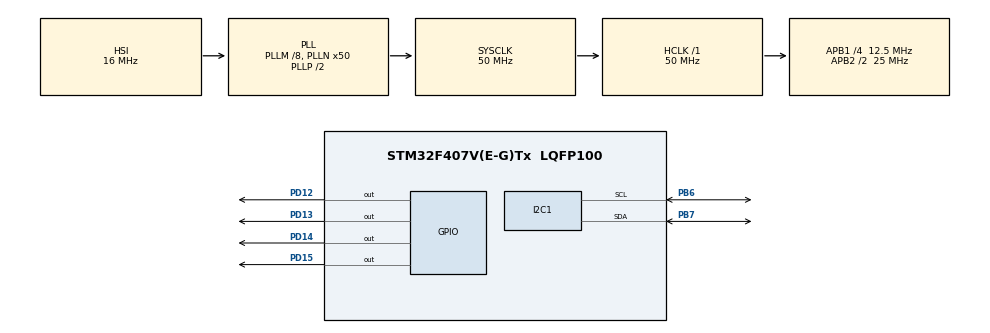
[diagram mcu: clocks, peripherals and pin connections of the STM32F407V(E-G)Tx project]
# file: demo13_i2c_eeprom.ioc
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Mcu.Family=STM32F4
RCC.CortexFreq_Value=50000000
RCC.APB1CLKDivider=RCC_HCLK_DIV4
RCC.SYSCLKSource=RCC_SYSCLKSOURCE_PLLCLK
ProjectManager.StackSize=0x400
PD13.Signal=GPIO_Output
ProjectManager.TargetToolchain=STM32CubeIDE
RCC.HCLKFreq_Value=50000000
RCC.APB2TimFreq_Value=50000000
PB6.Signal=I2C1_SCL
PB6.Mode=I2C
RCC.AHBFreq_Value=50000000
RCC.HSE_VALUE=8000000
board=STM32F407G-DISC1
RCC.VCOOutputFreq_Value=100000000
RCC.APB2Freq_Value=25000000
PD13.GPIO_PuPd=GPIO_NOPULL
PB7.Signal=I2C1_SDA
PD14.GPIO_PuPd=GPIO_NOPULL
Mcu.Name=STM32F407V(E-G)Tx
PD14.Signal=GPIO_Output
RCC.48MHZClocksFreq_Value=14285714.285714285
RCC.SYSCLKFreq_VALUE=50000000
Mcu.Package=LQFP100
PD12.Signal=GPIO_Output
PD15.GPIO_PuPd=GPIO_NOPULL
PB7.Mode=I2C
ProjectManager.HeapSize=0x200
RCC.HSI_VALUE=16000000
RCC.PLLQ=7
NVIC.PriorityGroup=NVIC_PRIORITYGROUP_0
RCC.APB2CLKDivider=RCC_HCLK_DIV2
RCC.PLLM=8
RCC.PLLN=50
RCC.APB1TimFreq_Value=25000000
RCC.APB1Freq_Value=12500000
PD15.Signal=GPIO_Output
PD12.GPIO_PuPd=GPIO_NOPULL

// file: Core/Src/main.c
/* USER CODE BEGIN Header */
/**
 ******************************************************************************
 * @file           : main.c
 * @brief          : Main program body
 ******************************************************************************
 * @attention
 *
 * <h2><center>&copy; Copyright (c) 2022 STMicroelectronics.
 * All rights reserved.</center></h2>
 *
 * This software component is licensed by ST under Ultimate Liberty license
 * SLA0044, the "License"; You may not use this file except in compliance with
 * the License. You may obtain a copy of the License at:
 *                             www.st.com/SLA0044
 *
 ******************************************************************************
 */
/* USER CODE END Header */
#include "main.h"

/* USER CODE BEGIN Includes */
#include<stdio.h>
#include<string.h>

/* USER CODE END Includes */

/* USER CODE BEGIN PM */
#define EEPROM_W 0xA0
#define EEPROM_R 0xA1
/* USER CODE END PM */

I2C_HandleTypeDef hi2c1;

void SystemClock_Config(void);
static void MX_GPIO_Init(void);
static void MX_I2C1_Init(void);

int main(void)
{

	/* MCU Configuration--------------------------------------------------------*/

	/* Reset of all peripherals, Initializes the Flash interface and the Systick. */
	HAL_Init();

	/* Configure the system clock */
	SystemClock_Config();

	/* Initialize all configured peripherals */
	MX_GPIO_Init();
	MX_I2C1_Init();

	/* Infinite loop */
	/* USER CODE BEGIN WHILE */
	if(HAL_I2C_IsDeviceReady(&hi2c1, 0xA0, 2, HAL_MAX_DELAY) == HAL_OK) {
		// EEPROM is connected
		HAL_GPIO_WritePin(GPIOD, GPIO_PIN_13, GPIO_PIN_SET);
	} else {
		// EEPROM is NOT connected
		HAL_GPIO_WritePin(GPIOD, GPIO_PIN_14, GPIO_PIN_SET);
		return 0;
	}

	char str[32] = "GOD BLESS YOU!";
	if(HAL_I2C_Mem_Write(&hi2c1, 0xA0, 0x0000, 2, (uint8_t*)str, strlen(str), HAL_MAX_DELAY) == HAL_OK) {
		// EEPROM write is successful
		HAL_GPIO_WritePin(GPIOD, GPIO_PIN_15, GPIO_PIN_SET);
	} else {
		// EEPROM write is failed
		HAL_GPIO_WritePin(GPIOD, GPIO_PIN_14, GPIO_PIN_SET);
		return 0;
	}

	char msg[32] = "";
	if(HAL_I2C_Mem_Read(&hi2c1, 0xA0, 0x0000, 2, (uint8_t*)msg, sizeof(str), HAL_MAX_DELAY)  == HAL_OK) {
		// EEPROM read is successful
		HAL_GPIO_WritePin(GPIOD, GPIO_PIN_12, GPIO_PIN_SET);
	} else {
		// EEPROM read is failed
		HAL_GPIO_WritePin(GPIOD, GPIO_PIN_14, GPIO_PIN_SET);
		return 0;
	}
	while (1)
	{
		/* USER CODE END WHILE */

	}
}

void SystemClock_Config(void)
{
	RCC_OscInitTypeDef RCC_OscInitStruct = {0};
	RCC_ClkInitTypeDef RCC_ClkInitStruct = {0};

	/** Configure the main internal regulator output voltage
	 */
	__HAL_RCC_PWR_CLK_ENABLE();
	__HAL_PWR_VOLTAGESCALING_CONFIG(PWR_REGULATOR_VOLTAGE_SCALE1);
	/** Initializes the RCC Oscillators according to the specified parameters
	 * in the RCC_OscInitTypeDef structure.
	 */
	RCC_OscInitStruct.OscillatorType = RCC_OSCILLATORTYPE_HSI;
	RCC_OscInitStruct.HSIState = RCC_HSI_ON;
	RCC_OscInitStruct.HSICalibrationValue = RCC_HSICALIBRATION_DEFAULT;
	RCC_OscInitStruct.PLL.PLLState = RCC_PLL_ON;
	RCC_OscInitStruct.PLL.PLLSource = RCC_PLLSOURCE_HSI;
	RCC_OscInitStruct.PLL.PLLM = 8;
	RCC_OscInitStruct.PLL.PLLN = 50;
	RCC_OscInitStruct.PLL.PLLP = RCC_PLLP_DIV2;
	RCC_OscInitStruct.PLL.PLLQ = 7;
	if (HAL_RCC_OscConfig(&RCC_OscInitStruct) != HAL_OK)
	{
		Error_Handler();
	}
	/** Initializes the CPU, AHB and APB buses clocks
	 */
	RCC_ClkInitStruct.ClockType = RCC_CLOCKTYPE_HCLK|RCC_CLOCKTYPE_SYSCLK
			|RCC_CLOCKTYPE_PCLK1|RCC_CLOCKTYPE_PCLK2;
	RCC_ClkInitStruct.SYSCLKSource = RCC_SYSCLKSOURCE_PLLCLK;
	RCC_ClkInitStruct.AHBCLKDivider = RCC_SYSCLK_DIV1;
	RCC_ClkInitStruct.APB1CLKDivider = RCC_HCLK_DIV4;
	RCC_ClkInitStruct.APB2CLKDivider = RCC_HCLK_DIV2;

	if (HAL_RCC_ClockConfig(&RCC_ClkInitStruct, FLASH_LATENCY_1) != HAL_OK)
	{
		Error_Handler();
	}
}

static void MX_I2C1_Init(void)
{

	hi2c1.Instance = I2C1;
	hi2c1.Init.ClockSpeed = 100000;
	hi2c1.Init.DutyCycle = I2C_DUTYCYCLE_2;
	hi2c1.Init.OwnAddress1 = 0;
	hi2c1.Init.AddressingMode = I2C_ADDRESSINGMODE_7BIT;
	hi2c1.Init.DualAddressMode = I2C_DUALADDRESS_DISABLE;
	hi2c1.Init.OwnAddress2 = 0;
	hi2c1.Init.GeneralCallMode = I2C_GENERALCALL_DISABLE;
	hi2c1.Init.NoStretchMode = I2C_NOSTRETCH_DISABLE;
	if (HAL_I2C_Init(&hi2c1) != HAL_OK)
	{
		Error_Handler();
	}

}

static void MX_GPIO_Init(void)
{
	GPIO_InitTypeDef GPIO_InitStruct = {0};

	/* GPIO Ports Clock Enable */
	__HAL_RCC_GPIOD_CLK_ENABLE();
	__HAL_RCC_GPIOB_CLK_ENABLE();

	/*Configure GPIO pin Output Level */
	HAL_GPIO_WritePin(GPIOD, GPIO_PIN_12|GPIO_PIN_13|GPIO_PIN_14|GPIO_PIN_15, GPIO_PIN_RESET);

	/*Configure GPIO pins : PD12 PD13 PD14 PD15 */
	GPIO_InitStruct.Pin = GPIO_PIN_12|GPIO_PIN_13|GPIO_PIN_14|GPIO_PIN_15;
	GPIO_InitStruct.Mode = GPIO_MODE_OUTPUT_PP;
	GPIO_InitStruct.Pull = GPIO_NOPULL;
	GPIO_InitStruct.Speed = GPIO_SPEED_FREQ_LOW;
	HAL_GPIO_Init(GPIOD, &GPIO_InitStruct);

}

void Error_Handler(void)
{
	__disable_irq();
	while (1)
	{
	}
}

/************************ (C) COPYRIGHT STMicroelectronics *****END OF FILE****/
